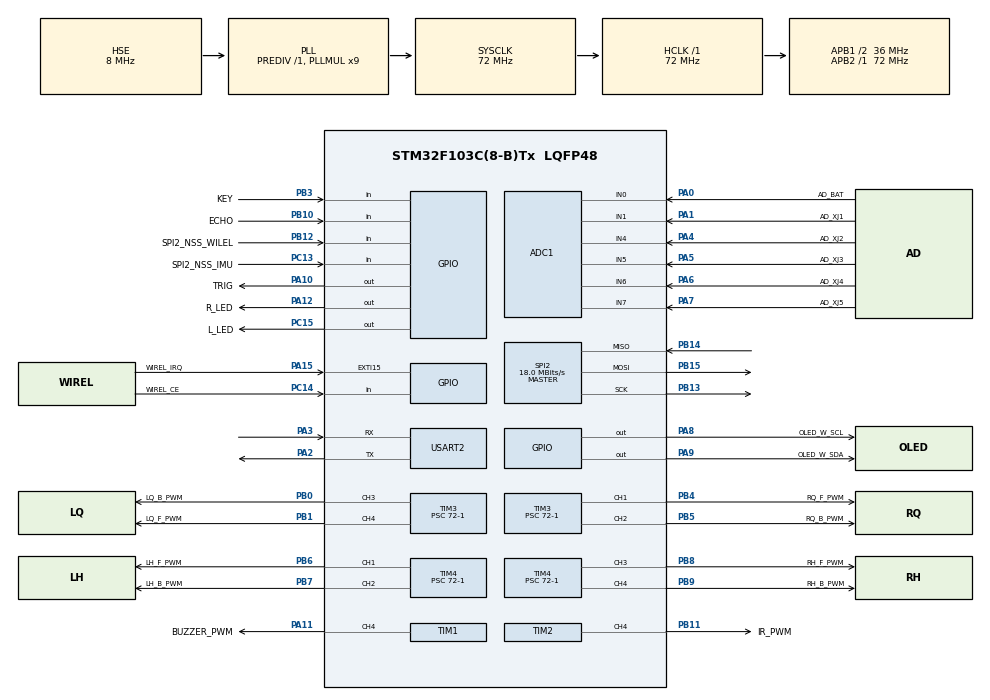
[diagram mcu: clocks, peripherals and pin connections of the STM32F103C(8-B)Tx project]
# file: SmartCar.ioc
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ADC1.Channel-1\#ChannelRegularConversion=ADC_CHANNEL_0
ADC1.Channel-2\#ChannelRegularConversion=ADC_CHANNEL_1
ADC1.Channel-3\#ChannelRegularConversion=ADC_CHANNEL_4
ADC1.Channel-4\#ChannelRegularConversion=ADC_CHANNEL_5
ADC1.Channel-5\#ChannelRegularConversion=ADC_CHANNEL_6
ADC1.Channel-6\#ChannelRegularConversion=ADC_CHANNEL_7
ADC1.ContinuousConvMode=ENABLE
ADC1.NbrOfConversion=6
ADC1.NbrOfConversionFlag=1
ADC1.Rank-1\#ChannelRegularConversion=1
ADC1.Rank-2\#ChannelRegularConversion=2
ADC1.Rank-3\#ChannelRegularConversion=3
ADC1.Rank-4\#ChannelRegularConversion=4
ADC1.Rank-5\#ChannelRegularConversion=5
ADC1.Rank-6\#ChannelRegularConversion=6
ADC1.SamplingTime-1\#ChannelRegularConversion=ADC_SAMPLETIME_55CYCLES_5
ADC1.SamplingTime-2\#ChannelRegularConversion=ADC_SAMPLETIME_28CYCLES_5
ADC1.SamplingTime-3\#ChannelRegularConversion=ADC_SAMPLETIME_28CYCLES_5
ADC1.SamplingTime-4\#ChannelRegularConversion=ADC_SAMPLETIME_28CYCLES_5
ADC1.SamplingTime-5\#ChannelRegularConversion=ADC_SAMPLETIME_28CYCLES_5
ADC1.SamplingTime-6\#ChannelRegularConversion=ADC_SAMPLETIME_28CYCLES_5
ADC1.master=1
Dma.ADC1.0.Direction=DMA_PERIPH_TO_MEMORY
Dma.ADC1.0.Instance=DMA1_Channel1
Dma.ADC1.0.MemDataAlignment=DMA_MDATAALIGN_HALFWORD
Dma.ADC1.0.MemInc=DMA_MINC_ENABLE
Dma.ADC1.0.Mode=DMA_CIRCULAR
Dma.ADC1.0.PeriphDataAlignment=DMA_PDATAALIGN_HALFWORD
Dma.ADC1.0.PeriphInc=DMA_PINC_DISABLE
Dma.ADC1.0.Priority=DMA_PRIORITY_LOW
Dma.Request0=ADC1
Mcu.Family=STM32F1
Mcu.Name=STM32F103C(8-B)Tx
Mcu.Package=LQFP48
NVIC.DMA1_Channel1_IRQn=true\:0\:0\:false\:false\:true\:false\:true\:true
NVIC.PriorityGroup=NVIC_PRIORITYGROUP_4
NVIC.TIM2_IRQn=true\:0\:0\:false\:false\:true\:true\:true\:true
NVIC.TIM3_IRQn=true\:0\:0\:false\:false\:true\:true\:true\:true
PA0-WKUP.GPIO_Label=AD_BAT
PA0-WKUP.Signal=ADCx_IN0
PA1.GPIO_Label=AD_XJ1
PA1.Signal=ADCx_IN1
PA10.GPIO_Label=TRIG
PA10.Signal=GPIO_Output
PA11.GPIO_Label=BUZZER_PWM
PA11.Signal=S_TIM1_CH4
PA12.GPIO_Label=R_LED
PA12.Signal=GPIO_Output
PA13.Mode=Serial_Wire
PA13.Signal=SYS_JTMS-SWDIO
PA14.Mode=Serial_Wire
PA14.Signal=SYS_JTCK-SWCLK
PA15.GPIO_Label=WIREL_IRQ
PA15.GPIO_ModeDefaultEXTI=GPIO_MODE_EVT_FALLING
PA15.Signal=GPXTI15
PA2.Mode=Asynchronous
PA2.Signal=USART2_TX
PA3.Mode=Asynchronous
PA3.Signal=USART2_RX
PA4.GPIO_Label=AD_XJ2
PA4.Signal=ADCx_IN4
PA5.GPIO_Label=AD_XJ3
PA5.Signal=ADCx_IN5
PA6.GPIO_Label=AD_XJ4
PA6.Signal=ADCx_IN6
PA7.GPIO_Label=AD_XJ5
PA7.Signal=ADCx_IN7
PA8.GPIO_Label=OLED_W_SCL
PA8.GPIO_ModeDefaultOutputPP=GPIO_MODE_OUTPUT_OD
PA8.GPIO_PuPd=GPIO_PULLUP
PA8.GPIO_Speed=GPIO_SPEED_FREQ_HIGH
PA8.Signal=GPIO_Output
PA9.GPIO_Label=OLED_W_SDA
PA9.GPIO_ModeDefaultOutputPP=GPIO_MODE_OUTPUT_OD
PA9.GPIO_PuPd=GPIO_PULLUP
PA9.GPIO_Speed=GPIO_SPEED_FREQ_HIGH
PA9.Signal=GPIO_Output
PB0.GPIO_Label=LQ_B_PWM
PB0.Signal=S_TIM3_CH3
PB1.GPIO_Label=LQ_F_PWM
PB1.Signal=S_TIM3_CH4
PB10.GPIO_Label=ECHO
PB10.Signal=GPIO_Input
PB11.GPIO_Label=IR_PWM
PB11.Signal=S_TIM2_CH4
PB12.GPIO_Label=SPI2_NSS_WILEL
PB12.Signal=GPIO_Input
PB13.Mode=Full_Duplex_Master
PB13.Signal=SPI2_SCK
PB14.Mode=Full_Duplex_Master
PB14.Signal=SPI2_MISO
PB15.Mode=Full_Duplex_Master
PB15.Signal=SPI2_MOSI
PB3.GPIO_Label=KEY
PB3.GPIO_PuPd=GPIO_PULLUP
PB3.Signal=GPIO_Input
PB4.GPIO_Label=RQ_F_PWM
PB4.Signal=S_TIM3_CH1
PB5.GPIO_Label=RQ_B_PWM
PB5.Signal=S_TIM3_CH2
PB6.GPIO_Label=LH_F_PWM
PB6.Signal=S_TIM4_CH1
PB7.GPIO_Label=LH_B_PWM
PB7.Signal=S_TIM4_CH2
PB8.GPIO_Label=RH_F_PWM
PB8.Signal=S_TIM4_CH3
PB9.GPIO_Label=RH_B_PWM
PB9.Signal=S_TIM4_CH4
PC13-TAMPER-RTC.GPIO_Label=SPI2_NSS_IMU
PC13-TAMPER-RTC.Signal=GPIO_Input
PC14-OSC32_IN.GPIO_Label=WIREL_CE
PC14-OSC32_IN.Signal=GPIO_Input
PC15-OSC32_OUT.GPIO_Label=L_LED
PC15-OSC32_OUT.Signal=GPIO_Output
PD0-OSC_IN.Mode=HSE-External-Oscillator
PD0-OSC_IN.Signal=RCC_OSC_IN
PD1-OSC_OUT.Mode=HSE-External-Oscillator
PD1-OSC_OUT.Signal=RCC_OSC_OUT
ProjectManager.HeapSize=0x200
ProjectManager.StackSize=0x400
ProjectManager.TargetToolchain=STM32CubeIDE
RCC.ADCPresc=RCC_ADCPCLK2_DIV6
RCC.AHBFreq_Value=72000000
RCC.APB1CLKDivider=RCC_HCLK_DIV2
RCC.APB1Freq_Value=36000000
RCC.APB1TimFreq_Value=72000000
RCC.APB2Freq_Value=72000000
RCC.APB2TimFreq_Value=72000000
RCC.HCLKFreq_Value=72000000
RCC.PLLMUL=RCC_PLL_MUL9
RCC.PLLSourceVirtual=RCC_PLLSOURCE_HSE
RCC.SYSCLKFreq_VALUE=72000000
RCC.SYSCLKSource=RCC_SYSCLKSOURCE_PLLCLK
RCC.USBFreq_Value=72000000
SH.ADCx_IN0.0=ADC1_IN0,IN0
SH.ADCx_IN1.0=ADC1_IN1,IN1
SH.ADCx_IN4.0=ADC1_IN4,IN4
SH.ADCx_IN5.0=ADC1_IN5,IN5
SH.ADCx_IN6.0=ADC1_IN6,IN6
SH.ADCx_IN7.0=ADC1_IN7,IN7
SH.S_TIM1_CH4.0=TIM1_CH4,PWM Generation4 CH4
SH.S_TIM2_CH4.0=TIM2_CH4,PWM Generation4 CH4
SH.S_TIM3_CH1.0=TIM3_CH1,PWM Generation1 CH1
SH.S_TIM3_CH2.0=TIM3_CH2,PWM Generation2 CH2
SH.S_TIM3_CH3.0=TIM3_CH3,PWM Generation3 CH3
SH.S_TIM3_CH4.0=TIM3_CH4,PWM Generation4 CH4
SH.S_TIM4_CH1.0=TIM4_CH1,PWM Generation1 CH1
SH.S_TIM4_CH2.0=TIM4_CH2,PWM Generation2 CH2
SH.S_TIM4_CH3.0=TIM4_CH3,PWM Generation3 CH3
SH.S_TIM4_CH4.0=TIM4_CH4,PWM Generation4 CH4
SPI2.CalculateBaudRate=18.0 MBits/s
SPI2.Direction=SPI_DIRECTION_2LINES
SPI2.Mode=SPI_MODE_MASTER
SPI2.VirtualType=VM_MASTER
TIM1.AutoReloadPreload=TIM_AUTORELOAD_PRELOAD_ENABLE
TIM1.AutomaticOutput=TIM_AUTOMATICOUTPUT_ENABLE
TIM1.Channel-PWM\ Generation4\ CH4=TIM_CHANNEL_4
TIM1.Period=100-1
TIM1.Prescaler=72-1
TIM2.Channel-PWM\ Generation4\ CH4=TIM_CHANNEL_4
TIM2.Period=10000-1
TIM2.Prescaler=72-1
TIM3.AutoReloadPreload=TIM_AUTORELOAD_PRELOAD_ENABLE
TIM3.Channel-PWM\ Generation1\ CH1=TIM_CHANNEL_1
TIM3.Channel-PWM\ Generation2\ CH2=TIM_CHANNEL_2
TIM3.Channel-PWM\ Generation3\ CH3=TIM_CHANNEL_3
TIM3.Channel-PWM\ Generation4\ CH4=TIM_CHANNEL_4
TIM3.Period=100-1
TIM3.Prescaler=72-1
TIM3.Pulse-PWM\ Generation3\ CH3=50
TIM4.AutoReloadPreload=TIM_AUTORELOAD_PRELOAD_ENABLE
TIM4.Channel-PWM\ Generation1\ CH1=TIM_CHANNEL_1
TIM4.Channel-PWM\ Generation2\ CH2=TIM_CHANNEL_2
TIM4.Channel-PWM\ Generation3\ CH3=TIM_CHANNEL_3
TIM4.Channel-PWM\ Generation4\ CH4=TIM_CHANNEL_4
TIM4.Period=100-1
TIM4.Prescaler=72-1
USART2.VirtualMode=VM_ASYNC
VP_TIM1_VS_ClockSourceINT.Mode=Internal
VP_TIM2_VS_ClockSourceINT.Mode=Internal
VP_TIM3_VS_ClockSourceINT.Mode=Internal
VP_TIM4_VS_ClockSourceINT.Mode=Internal
board=custom

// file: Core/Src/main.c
/* USER CODE BEGIN Header */
/**
  ******************************************************************************
  * @file           : main.c
  * @brief          : Main program body
  ******************************************************************************
  * @attention
  *
  * Copyright (c) 2025 STMicroelectronics.
  * All rights reserved.
  *
  * This software is licensed under terms that can be found in the LICENSE file
  * in the root directory of this software component.
  * If no LICENSE file comes with this software, it is provided AS-IS.
  *
  ******************************************************************************
  */
/* USER CODE END Header */
#include "main.h"
#include "adc.h"
#include "dma.h"
#include "spi.h"
#include "tim.h"
#include "usart.h"
#include "gpio.h"

/* USER CODE BEGIN Includes */
#include "../User/Modules/Delay/delay.h"
#include "../User/Modules/Key/Key.h"
#include "../User/Modules/OLED/drv_OLED.h"
#include "../User/Modules/Buzzer/Buzzer.h"
#include "../User/Modules/LED/LED.h"
#include "../User/Modules/UltraSound/Ultrasound.h"
#include "../User/Modules/Motor/motor.h"
#include "../User/config.h"
#include "../User/Application/Car/Car.h"
#include "stdio.h"
#include "../User/Modules/OLED/Dwt.h"
#include "Kalman_filter/kalman_filter.h"
#include "../User/Modules/Track/track.h"
#include "../User/Modules/BatVolt/BatVolt.h"
#include "../User/Modules/Task_Scheduler/task_scheduler.h"
#include "../User/Application/Task/Task.h"
/* USER CODE END Includes */

/* USER CODE BEGIN PD */

#ifdef __GNUC__
#define PUTCHAR_PROTOTYPE int __io_putchar(int ch)
#else
#define PUTCHAR_PROTOTYPE int fputc(int ch, FILE *f)
#endif

PUTCHAR_PROTOTYPE
{
    HAL_UART_Transmit(&huart2, (uint8_t *) &ch, 1, HAL_MAX_DELAY);
    return ch;
}

/* USER CODE END PD */

/* USER CODE BEGIN PV */
int8_t KeyNum;
int8_t Key_cnt = 1;

int8_t Ti_question = 0;
uint16_t main_cnt = 0; //主循环计数

// adc_buf[1]~[5] 对应5路循迹，adc_buf[0] 对应电池电压
uint16_t adc_buf[6];
static int xj_pwm = 3000;

// 定义环形缓冲区结构
#define UART_BUFFER_SIZE 64

typedef struct {
    uint8_t buffer[UART_BUFFER_SIZE];
    volatile uint16_t head;
    volatile uint16_t tail;
} uart_buffer_t;

// 全局环形缓冲区
uart_buffer_t uart2_rx_buffer = {0};

/* 接收缓冲区定义 */

uint8_t uart2_rx_data; // 暂存单次中断接收的1字节数据

uint8_t flag = 0;             // 状态标志

/* 串口1接收相关变量 */
#define UART1_RX_BUF_SIZE 64
uint8_t uart1_rx_buffer[UART1_RX_BUF_SIZE];
uint8_t uart1_rx_index = 0;
uint8_t uart1_rx_char;  // 单字节接收暂存

/* USER CODE END PV */

void SystemClock_Config(void);
/* USER CODE BEGIN PFP */

float motion6[7];       //加速度计和陀螺仪数据
float ypr[3];          //0为yaw（绕z轴转动），1为pitch（绕y轴转动），2为roll（绕x轴转动）

KalmanFilter2D *kf_yaw;            //卡尔曼滤波器

//yaw欧拉角滤波后结果
float yaw_filtered[2];

// 初始状态（yaw pitch roll）
float init_x[2] = {0.0f, 0.0f};

// 初始协方差
float init_P[4] =
        {1.0f, 0.0f,
         0.0f, 1.0f};

// 过程噪声矩阵（对角元素）反映“模型信任度”，值越小越相信模型
float Q[4] = {// Yaw噪声较大
        0.1f, 0.0f,
        0.0f, 0.01f, };

// 反映“传感器信任度”，值越小越相信测量
float R[4] = {
        0.5f, 0.0f,
        0.0f, 0.5f, };  // 先试 0.5，再微调

HAL_StatusTypeDef HAL_UART_STATUS;

/* USER CODE END PV */

/* Private function prototypes -----------------------------------------------*/
void SystemClock_Config(void);
/* USER CODE BEGIN PFP */
void process_uart2_data(void);

void Mode_choose(void);

/* USER CODE END PFP */

int main(void)
{

  /* MCU Configuration--------------------------------------------------------*/

  /* Reset of all peripherals, Initializes the Flash interface and the Systick. */
  HAL_Init();

  /* Configure the system clock */
  SystemClock_Config();

  /* Initialize all configured peripherals */
  MX_GPIO_Init();
  MX_DMA_Init();
  MX_TIM3_Init();
  MX_TIM1_Init();
  MX_TIM4_Init();
  MX_ADC1_Init();
  MX_USART2_UART_Init();
  MX_TIM2_Init();
  MX_SPI2_Init();
  /* USER CODE BEGIN 2 */
    //pwm生成启动

    HAL_TIM_PWM_Start(&htim1,TIM_CHANNEL_4);

    HAL_TIM_PWM_Start(&htim2,TIM_CHANNEL_4);

    HAL_TIM_PWM_Start(&htim3,TIM_CHANNEL_1);
    HAL_TIM_PWM_Start(&htim3,TIM_CHANNEL_2);
    HAL_TIM_PWM_Start(&htim3,TIM_CHANNEL_3);
    HAL_TIM_PWM_Start(&htim3,TIM_CHANNEL_4);

    HAL_TIM_PWM_Start(&htim4,TIM_CHANNEL_1);
    HAL_TIM_PWM_Start(&htim4,TIM_CHANNEL_2);
    HAL_TIM_PWM_Start(&htim4,TIM_CHANNEL_3);
    HAL_TIM_PWM_Start(&htim4,TIM_CHANNEL_4);
    //定时器中断开启
    HAL_TIM_Base_Start_IT(&htim2);
    HAL_TIM_Base_Start_IT(&htim3);

    //uart2接受数据中断
    HAL_UART_Receive_IT(&huart2, &uart2_rx_data, 1);
    // 启动DMA搬运ADC数据
    HAL_ADC_Start_DMA(&hadc1, (uint32_t*)adc_buf, 6);

    delay_init();//里面包含imu计算时基nowtime
    dwt_init(72);
    //IMU_init(); //包含icm_42688初始化,里面启动了tim9的定时中断
    OLED_Init(); //
    Key_Init(); // 初始化按键
    OLED_Clear();
    LED_System_Init();
    Task_Init();
    Track_Init();

//    kf_yaw = Kalman2DInit(init_x, init_P, Q, R);
//    // 设置时间步长 (假设0.1秒)
//    Kalman2DSetDT(kf_yaw, 0.02f);

//任务管理初始化 注册任务
    Task_All_Init();
    //开启超声波测距
    Ultrasonic_Start_Measure();
  /* USER CODE END 2 */

  /* Infinite loop */
  /* USER CODE BEGIN WHILE */
    OLED_ShowString(1,1,"question:");
    OLED_ShowString(3,1,"pwm:");

    uint32_t last_tick = Flag_10ms_Cnt;

    /* USER CODE END 2 */
    while (1)
    {
    /* USER CODE END WHILE */

    /* USER CODE BEGIN 3 */

        main_cnt++;
        // 赛题选择
        Mode_choose();
        //循迹pwm
        __HAL_TIM_SET_COMPARE(&htim2, TIM_CHANNEL_4, xj_pwm);
        OLED_ShowString(3,1,"pwm:");//测试。；

        //根据赛题执行不同操作
        switch (Key_cnt)
        {
            case 1:

                Task_BatVolt_LED_Enable(true) ;
                Task_line_following_Pid_Enable(false) ;
                Task_Ultrasonund_Enable(true);
                Task_Music_Enable(false) ;
                Buzzer_Stop_Song();
                Task_OLED_Enable(true) ;
                Task_Car_Pidcontrol_Enable(false);
                Car_stop();    // 禁用小车控制时清零残留速度

                break;
            case 2:

                Task_BatVolt_LED_Enable(true) ;
                Task_line_following_Pid_Enable(true) ;
                Task_Ultrasonund_Enable(true);
                Task_Music_Enable(true) ;
                Task_OLED_Enable(true) ;
                Task_Car_Pidcontrol_Enable(true);

                break;
            case 3:

                Task_BatVolt_LED_Enable(true) ;
                Task_line_following_Pid_Enable(false) ;
                Task_Ultrasonund_Enable(true);
                Task_Music_Enable(true) ;
                Task_OLED_Enable(true) ;
                Task_Car_Pidcontrol_Enable(true);

                break;
            case 4:
                Task_BatVolt_LED_Enable(true) ;
                Task_line_following_Pid_Enable(false) ;
                Task_Ultrasonund_Enable(false);
                Task_Music_Enable(false) ;
                Buzzer_Stop_Song();
                Task_OLED_Enable(true) ;
                Task_Car_Pidcontrol_Enable(true);

                break;
            default:
                Car_stop();
                Buzzer_OFF();

                break;
        }

        if (Flag_10ms_Cnt != last_tick)
        {
            last_tick = Flag_10ms_Cnt;
            Task_Scheduler_Run();
        }
        // 控制小车
        Car_conDirection(Motor[0].Speed_out, Motor[1].Speed_out);

    }
  /* USER CODE END 3 */
}

void SystemClock_Config(void)
{
  RCC_OscInitTypeDef RCC_OscInitStruct = {0};
  RCC_ClkInitTypeDef RCC_ClkInitStruct = {0};
  RCC_PeriphCLKInitTypeDef PeriphClkInit = {0};

  /** Initializes the RCC Oscillators according to the specified parameters
  * in the RCC_OscInitTypeDef structure.
  */
  RCC_OscInitStruct.OscillatorType = RCC_OSCILLATORTYPE_HSE;
  RCC_OscInitStruct.HSEState = RCC_HSE_ON;
  RCC_OscInitStruct.HSEPredivValue = RCC_HSE_PREDIV_DIV1;
  RCC_OscInitStruct.HSIState = RCC_HSI_ON;
  RCC_OscInitStruct.PLL.PLLState = RCC_PLL_ON;
  RCC_OscInitStruct.PLL.PLLSource = RCC_PLLSOURCE_HSE;
  RCC_OscInitStruct.PLL.PLLMUL = RCC_PLL_MUL9;
  if (HAL_RCC_OscConfig(&RCC_OscInitStruct) != HAL_OK)
  {
    Error_Handler();
  }

  /** Initializes the CPU, AHB and APB buses clocks
  */
  RCC_ClkInitStruct.ClockType = RCC_CLOCKTYPE_HCLK|RCC_CLOCKTYPE_SYSCLK
                              |RCC_CLOCKTYPE_PCLK1|RCC_CLOCKTYPE_PCLK2;
  RCC_ClkInitStruct.SYSCLKSource = RCC_SYSCLKSOURCE_PLLCLK;
  RCC_ClkInitStruct.AHBCLKDivider = RCC_SYSCLK_DIV1;
  RCC_ClkInitStruct.APB1CLKDivider = RCC_HCLK_DIV2;
  RCC_ClkInitStruct.APB2CLKDivider = RCC_HCLK_DIV1;

  if (HAL_RCC_ClockConfig(&RCC_ClkInitStruct, FLASH_LATENCY_2) != HAL_OK)
  {
    Error_Handler();
  }
  PeriphClkInit.PeriphClockSelection = RCC_PERIPHCLK_ADC;
  PeriphClkInit.AdcClockSelection = RCC_ADCPCLK2_DIV6;
  if (HAL_RCCEx_PeriphCLKConfig(&PeriphClkInit) != HAL_OK)
  {
    Error_Handler();
  }
}

/* USER CODE BEGIN 4 */

void Mode_choose(void)
{
    // 获取按键值
    KeyNum = Key_GetNum();

    // 处理按键事件
    if(KeyNum == 0) // KEY0按下
    {
        Key_cnt = (Key_cnt)%4 + 1;
    }

}

void HAL_TIM_PeriodElapsedCallback(TIM_HandleTypeDef *htim)
{

    if(htim == &htim2)//htim2 10ms 100HZ进一次中断；
    {

        Flag_10ms_Cnt++;

        // 按键消抖（10ms 中断一次，计数3次=30ms）
        Key_Update();

        //更新imu数据
//        IMU_getYawPitchRoll(ypr);
//        IMU_TT_getgyro(motion6);
//
//        Kalman2DUpdateSeparate(kf_yaw, ypr[0], motion6[3]);
//        Kalman2DGetState(kf_yaw,yaw_filtered);

    }
    if(htim == &htim3)
    {
        // 调用结构体内部呼吸方法
        Led_Group[LED_R_GROUP].Breath_Scan(&Led_Group[LED_R_GROUP]);
        Led_Group[LED_L_GROUP].Breath_Scan(&Led_Group[LED_L_GROUP]);

    }

}

void HAL_UART_RxCpltCallback(UART_HandleTypeDef *huart)
{

    if (huart == &huart2) {
        // 将数据存入环形缓冲区

        uint16_t next_head = (uart2_rx_buffer.head + 1) % UART_BUFFER_SIZE;
        if (next_head != uart2_rx_buffer.tail) {
            uart2_rx_buffer.buffer[uart2_rx_buffer.head] = uart2_rx_data;
            uart2_rx_buffer.head = next_head;
        }

        HAL_UART_Receive_IT(&huart2, &uart2_rx_data, 1);
    }

}

/* USER CODE END 4 */

void Error_Handler(void)
{
    __disable_irq();
    while (1)
    {
    }
}
